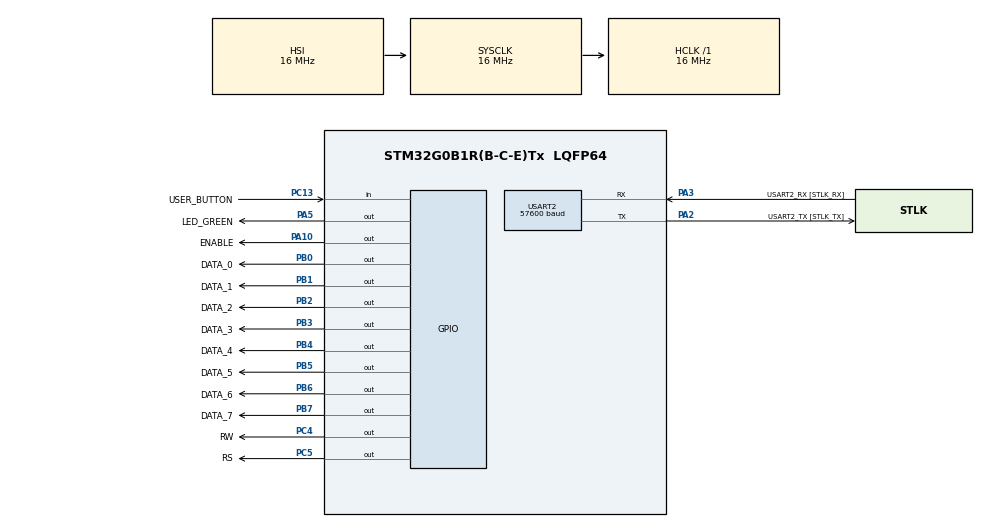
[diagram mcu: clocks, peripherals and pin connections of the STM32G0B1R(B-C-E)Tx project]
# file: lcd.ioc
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Dma.Request0=USART2_RX
Dma.Request1=USART2_TX
Dma.USART2_RX.0.Direction=DMA_PERIPH_TO_MEMORY
Dma.USART2_RX.0.EventEnable=DISABLE
Dma.USART2_RX.0.Instance=DMA1_Channel1
Dma.USART2_RX.0.MemDataAlignment=DMA_MDATAALIGN_BYTE
Dma.USART2_RX.0.MemInc=DMA_MINC_ENABLE
Dma.USART2_RX.0.Mode=DMA_NORMAL
Dma.USART2_RX.0.PeriphDataAlignment=DMA_PDATAALIGN_BYTE
Dma.USART2_RX.0.PeriphInc=DMA_PINC_DISABLE
Dma.USART2_RX.0.Polarity=HAL_DMAMUX_REQ_GEN_RISING
Dma.USART2_RX.0.Priority=DMA_PRIORITY_LOW
Dma.USART2_RX.0.RequestNumber=1
Dma.USART2_RX.0.SignalID=NONE
Dma.USART2_RX.0.SyncEnable=DISABLE
Dma.USART2_RX.0.SyncPolarity=HAL_DMAMUX_SYNC_NO_EVENT
Dma.USART2_RX.0.SyncRequestNumber=1
Dma.USART2_RX.0.SyncSignalID=NONE
Dma.USART2_TX.1.Direction=DMA_MEMORY_TO_PERIPH
Dma.USART2_TX.1.EventEnable=DISABLE
Dma.USART2_TX.1.Instance=DMA1_Channel2
Dma.USART2_TX.1.MemDataAlignment=DMA_MDATAALIGN_BYTE
Dma.USART2_TX.1.MemInc=DMA_MINC_ENABLE
Dma.USART2_TX.1.Mode=DMA_NORMAL
Dma.USART2_TX.1.PeriphDataAlignment=DMA_PDATAALIGN_BYTE
Dma.USART2_TX.1.PeriphInc=DMA_PINC_DISABLE
Dma.USART2_TX.1.Polarity=HAL_DMAMUX_REQ_GEN_RISING
Dma.USART2_TX.1.Priority=DMA_PRIORITY_LOW
Dma.USART2_TX.1.RequestNumber=1
Dma.USART2_TX.1.SignalID=NONE
Dma.USART2_TX.1.SyncEnable=DISABLE
Dma.USART2_TX.1.SyncPolarity=HAL_DMAMUX_SYNC_NO_EVENT
Dma.USART2_TX.1.SyncRequestNumber=1
Dma.USART2_TX.1.SyncSignalID=NONE
Mcu.Family=STM32G0
Mcu.Name=STM32G0B1R(B-C-E)Tx
Mcu.Package=LQFP64
NVIC.DMA1_Channel1_IRQn=true\:0\:0\:false\:false\:true\:false\:true\:true
NVIC.DMA1_Channel2_3_IRQn=true\:0\:0\:false\:false\:true\:false\:true\:true
NVIC.USART2_LPUART2_IRQn=true\:0\:0\:false\:false\:true\:true\:true\:true
PA10.GPIO_Label=ENABLE
PA10.Signal=GPIO_Output
PA13.GPIO_Label=TMS
PA13.Mode=Serial_Wire
PA13.Signal=SYS_SWDIO
PA14-BOOT0.GPIO_Label=TCK
PA14-BOOT0.Mode=Serial_Wire
PA14-BOOT0.Signal=SYS_SWCLK
PA2.GPIO_Label=USART2_TX [STLK_TX]
PA2.Mode=Asynchronous
PA2.Signal=USART2_TX
PA3.GPIO_Label=USART2_RX [STLK_RX]
PA3.Mode=Asynchronous
PA3.Signal=USART2_RX
PA5.GPIO_Label=LED_GREEN
PA5.GPIO_Speed=GPIO_SPEED_FREQ_HIGH
PA5.Signal=GPIO_Output
PB0.GPIO_Label=DATA_0
PB0.Signal=GPIO_Output
PB1.GPIO_Label=DATA_1
PB1.Signal=GPIO_Output
PB2.GPIO_Label=DATA_2
PB2.Signal=GPIO_Output
PB3.GPIO_Label=DATA_3
PB3.Signal=GPIO_Output
PB4.GPIO_Label=DATA_4
PB4.Signal=GPIO_Output
PB5.GPIO_Label=DATA_5
PB5.Signal=GPIO_Output
PB6.GPIO_Label=DATA_6
PB6.Signal=GPIO_Output
PB7.GPIO_Label=DATA_7
PB7.Signal=GPIO_Output
PC13.GPIO_Label=USER_BUTTON
PC13.Signal=GPIO_Input
PC14-OSC32_IN\ (PC14).Mode=LSE-External-Oscillator
PC14-OSC32_IN\ (PC14).Signal=RCC_OSC32_IN
PC15-OSC32_OUT\ (PC15).Mode=LSE-External-Oscillator
PC15-OSC32_OUT\ (PC15).Signal=RCC_OSC32_OUT
PC4.GPIO_Label=RW
PC4.Signal=GPIO_Output
PC5.GPIO_Label=RS
PC5.Signal=GPIO_Output
PF0-OSC_IN\ (PF0).GPIO_Label=MCO
PF0-OSC_IN\ (PF0).Mode=HSE-External-Clock-Source
PF0-OSC_IN\ (PF0).Signal=RCC_OSC_IN
ProjectManager.HeapSize=0x200
ProjectManager.StackSize=0x400
ProjectManager.TargetToolchain=STM32CubeIDE
RCC.AHBFreq_Value=16000000
RCC.CortexFreq_Value=16000000
RCC.EXTERNAL_CLOCK_VALUE=12288000
RCC.HCLKFreq_Value=16000000
RCC.HSE_VALUE=8000000
RCC.HSI48_VALUE=48000000
RCC.HSI_VALUE=16000000
RCC.SYSCLKFreq_VALUE=16000000
RCC.USBFreq_Value=48000000
RCC.VCOOutputFreq_Value=128000000
USART2.BaudRate=57600
USART2.VirtualMode-Asynchronous=VM_ASYNC
board=NUCLEO-G0B1RE

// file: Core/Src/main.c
/* USER CODE BEGIN Header */
/**
  ******************************************************************************
  * @file           : main.c
  * @brief          : Main program body
  ******************************************************************************
  * @attention
  *
  * Copyright (c) 2023 STMicroelectronics.
  * All rights reserved.
  *
  * This software is licensed under terms that can be found in the LICENSE file
  * in the root directory of this software component.
  * If no LICENSE file comes with this software, it is provided AS-IS.
  *
  ******************************************************************************
  */
/* USER CODE END Header */
#include "main.h"

/* USER CODE BEGIN Includes */
#include <stdio.h>
#include <stdbool.h>
#include <stdlib.h>
#include <string.h>
#include <stdint.h>
#include "retarget.h"
#include "lcd.h"

/* USER CODE END Includes */

UART_HandleTypeDef huart2;
DMA_HandleTypeDef hdma_usart2_rx;
DMA_HandleTypeDef hdma_usart2_tx;

/* USER CODE BEGIN PV */
bool dato_recivido=false;
uint8_t rx_buff[50]={0};

/* USER CODE END PV */

void SystemClock_Config(void);
static void MX_GPIO_Init(void);
static void MX_DMA_Init(void);
static void MX_USART2_UART_Init(void);
/* USER CODE BEGIN PFP */

lcd_port_t my_lcd = {
		.RS.port = GPIOC,
		.RS.pin = GPIO_PIN_5,
		.RS.index = 5,
		.RW.port = GPIOC,
		.RW.pin = GPIO_PIN_4,
		.RW.index = 4,
		.E.port = GPIOA,
		.E.pin = GPIO_PIN_10,
		.E.index = 10,
		.D0.port = GPIOB,
		.D0.pin = GPIO_PIN_0,
		.D0.index = 0,
		.D1.port = GPIOB,
		.D1.pin = GPIO_PIN_1,
		.D1.index = 1,
		.D2.port = GPIOB,
		.D2.pin = GPIO_PIN_2,
		.D2.index = 2,
		.D3.port = GPIOB,
		.D3.pin = GPIO_PIN_3,
		.D3.index = 3,
		.D4.port = GPIOB,
		.D4.pin = GPIO_PIN_4,
		.D4.index = 4,
		.D5.port = GPIOB,
		.D5.pin = GPIO_PIN_5,
		.D5.index = 5,
		.D6.port = GPIOB,
		.D6.pin = GPIO_PIN_6,
		.D6.index = 6,
		.D7.port = GPIOB,
		.D7.pin = GPIO_PIN_7,
		.D7.index = 7,
};

/* USER CODE END PFP */

/* USER CODE BEGIN 0 */

/*
void parceo(char *data)
{
	const char split[] = ";";
	uint8_t *token;
	token = strtok(data,split);
	while(token != NULL)
	{
		switch(j)
		{
			case 0:
			Vn = strtol(token, NULL,10);
			break;
			case 1:
			In = strtol(token, NULL,10);
			break;
			case 2:
			Turns = strtol(token, NULL,10);
			break;
			case 3:
			Burden = strtol(token, NULL,10);
			break;
			case 4:
			Att = strtol(token, NULL,10);
			break;
		}
		j++;
		token = strtok(NULL,split);
	}
}

void get_command(uint8_t *med)
{
	ID = *(med);
	ID = *(med+1);
	switch(ID)
		{
			case 0x19:
				printf("\r ID: %lX \r\n",ID);
			break;
			case 0x20:
				printf("\r ID: %lX \r\n",ID);
			break;
		}
}

*/

void UART_SET_Interruption(UART_HandleTypeDef * istance) // inicializa la interrupcion
{
  __HAL_UART_ENABLE_IT(&huart2,UART_IT_IDLE);
  __HAL_UART_FLUSH_DRREGISTER(&huart2);
  //DMAEnable = true;
 HAL_UART_Receive_DMA(&huart2, (uint8_t *) rx_buff, sizeof(rx_buff));
}

void UART_ASCII_IRQHandler(UART_HandleTypeDef * istance)
{
  if(RESET != __HAL_UART_GET_FLAG(&huart2,UART_FLAG_IDLE))
  {
	  __HAL_UART_CLEAR_IDLEFLAG(&huart2); // limpia la bandera
	  UART_ASCII_receive_callback(); // interrupcion
  }
}

void UART_ASCII_receive_callback(void)
{
	HAL_UART_DMAStop(&huart2);
    HAL_UART_Receive_DMA(&huart2,(uint8_t*) rx_buff, sizeof(rx_buff));
    //get_command(rx_buff);
    dato_recivido = true;
    memset(rx_buff,'\0',sizeof(rx_buff));
}

/* USER CODE END 0 */

int main(void)
{

  /* MCU Configuration--------------------------------------------------------*/

  /* Reset of all peripherals, Initializes the Flash interface and the Systick. */
  HAL_Init();

  /* Configure the system clock */
  SystemClock_Config();

  /* Initialize all configured peripherals */
  MX_GPIO_Init();
  MX_DMA_Init();
  MX_USART2_UART_Init();
  /* USER CODE BEGIN 2 */
  UART_SET_Interruption(&huart2);
  HAL_UART_Receive_DMA(&huart2,rx_buff, sizeof(rx_buff));
  RetargetInit(&huart2);

  printf("\r LCD project \r\n");
  char m[] = {"Buenos dias Ismael"};
  char m2[] = {"Como estas?"};
  char measure[10];

  lcd_init(&my_lcd);
  place(&my_lcd,1,3);
  message(&my_lcd,m,sizeof(m));
  place(&my_lcd,2,3);
  message(&my_lcd,m2,sizeof(m2));
  HAL_Delay(2000);

  clear(&my_lcd);

  place(&my_lcd,1,0);
  get_number(measure,sizeof(measure), "%.3f", 4.331);
  message(&my_lcd,"measure: ",9);
  message(&my_lcd,measure,6);

  /* USER CODE END 2 */

  /* Infinite loop */
  while (1)
  {

  }
}

void SystemClock_Config(void)
{
  RCC_OscInitTypeDef RCC_OscInitStruct = {0};
  RCC_ClkInitTypeDef RCC_ClkInitStruct = {0};

  /** Configure the main internal regulator output voltage
  */
  HAL_PWREx_ControlVoltageScaling(PWR_REGULATOR_VOLTAGE_SCALE1);

  /** Initializes the RCC Oscillators according to the specified parameters
  * in the RCC_OscInitTypeDef structure.
  */
  RCC_OscInitStruct.OscillatorType = RCC_OSCILLATORTYPE_HSI;
  RCC_OscInitStruct.HSIState = RCC_HSI_ON;
  RCC_OscInitStruct.HSIDiv = RCC_HSI_DIV1;
  RCC_OscInitStruct.HSICalibrationValue = RCC_HSICALIBRATION_DEFAULT;
  RCC_OscInitStruct.PLL.PLLState = RCC_PLL_NONE;
  if (HAL_RCC_OscConfig(&RCC_OscInitStruct) != HAL_OK)
  {
    Error_Handler();
  }

  /** Initializes the CPU, AHB and APB buses clocks
  */
  RCC_ClkInitStruct.ClockType = RCC_CLOCKTYPE_HCLK|RCC_CLOCKTYPE_SYSCLK
                              |RCC_CLOCKTYPE_PCLK1;
  RCC_ClkInitStruct.SYSCLKSource = RCC_SYSCLKSOURCE_HSI;
  RCC_ClkInitStruct.AHBCLKDivider = RCC_SYSCLK_DIV1;
  RCC_ClkInitStruct.APB1CLKDivider = RCC_HCLK_DIV1;

  if (HAL_RCC_ClockConfig(&RCC_ClkInitStruct, FLASH_LATENCY_0) != HAL_OK)
  {
    Error_Handler();
  }
}

static void MX_USART2_UART_Init(void)
{

  huart2.Instance = USART2;
  huart2.Init.BaudRate = 57600;
  huart2.Init.WordLength = UART_WORDLENGTH_8B;
  huart2.Init.StopBits = UART_STOPBITS_1;
  huart2.Init.Parity = UART_PARITY_NONE;
  huart2.Init.Mode = UART_MODE_TX_RX;
  huart2.Init.HwFlowCtl = UART_HWCONTROL_NONE;
  huart2.Init.OverSampling = UART_OVERSAMPLING_16;
  huart2.Init.OneBitSampling = UART_ONE_BIT_SAMPLE_DISABLE;
  huart2.Init.ClockPrescaler = UART_PRESCALER_DIV1;
  huart2.AdvancedInit.AdvFeatureInit = UART_ADVFEATURE_NO_INIT;
  if (HAL_UART_Init(&huart2) != HAL_OK)
  {
    Error_Handler();
  }
  if (HAL_UARTEx_SetTxFifoThreshold(&huart2, UART_TXFIFO_THRESHOLD_1_8) != HAL_OK)
  {
    Error_Handler();
  }
  if (HAL_UARTEx_SetRxFifoThreshold(&huart2, UART_RXFIFO_THRESHOLD_1_8) != HAL_OK)
  {
    Error_Handler();
  }
  if (HAL_UARTEx_DisableFifoMode(&huart2) != HAL_OK)
  {
    Error_Handler();
  }

}

static void MX_DMA_Init(void)
{

  /* DMA controller clock enable */
  __HAL_RCC_DMA1_CLK_ENABLE();

  /* DMA interrupt init */
  /* DMA1_Channel1_IRQn interrupt configuration */
  HAL_NVIC_SetPriority(DMA1_Channel1_IRQn, 0, 0);
  HAL_NVIC_EnableIRQ(DMA1_Channel1_IRQn);
  /* DMA1_Channel2_3_IRQn interrupt configuration */
  HAL_NVIC_SetPriority(DMA1_Channel2_3_IRQn, 0, 0);
  HAL_NVIC_EnableIRQ(DMA1_Channel2_3_IRQn);

}

static void MX_GPIO_Init(void)
{
  GPIO_InitTypeDef GPIO_InitStruct = {0};

  /* GPIO Ports Clock Enable */
  __HAL_RCC_GPIOC_CLK_ENABLE();
  __HAL_RCC_GPIOF_CLK_ENABLE();
  __HAL_RCC_GPIOA_CLK_ENABLE();
  __HAL_RCC_GPIOB_CLK_ENABLE();

  /*Configure GPIO pin Output Level */
  HAL_GPIO_WritePin(GPIOA, LED_GREEN_Pin|ENABLE_Pin, GPIO_PIN_RESET);

  /*Configure GPIO pin Output Level */
  HAL_GPIO_WritePin(GPIOC, RW_Pin|RS_Pin, GPIO_PIN_RESET);

  /*Configure GPIO pin Output Level */
  HAL_GPIO_WritePin(GPIOB, DATA_0_Pin|DATA_1_Pin|DATA_2_Pin|DATA_3_Pin
                          |DATA_4_Pin|DATA_5_Pin|DATA_6_Pin|DATA_7_Pin, GPIO_PIN_RESET);

  /*Configure GPIO pin : USER_BUTTON_Pin */
  GPIO_InitStruct.Pin = USER_BUTTON_Pin;
  GPIO_InitStruct.Mode = GPIO_MODE_INPUT;
  GPIO_InitStruct.Pull = GPIO_NOPULL;
  HAL_GPIO_Init(USER_BUTTON_GPIO_Port, &GPIO_InitStruct);

  /*Configure GPIO pin : LED_GREEN_Pin */
  GPIO_InitStruct.Pin = LED_GREEN_Pin;
  GPIO_InitStruct.Mode = GPIO_MODE_OUTPUT_PP;
  GPIO_InitStruct.Pull = GPIO_NOPULL;
  GPIO_InitStruct.Speed = GPIO_SPEED_FREQ_HIGH;
  HAL_GPIO_Init(LED_GREEN_GPIO_Port, &GPIO_InitStruct);

  /*Configure GPIO pins : RW_Pin RS_Pin */
  GPIO_InitStruct.Pin = RW_Pin|RS_Pin;
  GPIO_InitStruct.Mode = GPIO_MODE_OUTPUT_PP;
  GPIO_InitStruct.Pull = GPIO_NOPULL;
  GPIO_InitStruct.Speed = GPIO_SPEED_FREQ_LOW;
  HAL_GPIO_Init(GPIOC, &GPIO_InitStruct);

  /*Configure GPIO pins : DATA_0_Pin DATA_1_Pin DATA_2_Pin DATA_3_Pin
                           DATA_4_Pin DATA_5_Pin DATA_6_Pin DATA_7_Pin */
  GPIO_InitStruct.Pin = DATA_0_Pin|DATA_1_Pin|DATA_2_Pin|DATA_3_Pin
                          |DATA_4_Pin|DATA_5_Pin|DATA_6_Pin|DATA_7_Pin;
  GPIO_InitStruct.Mode = GPIO_MODE_OUTPUT_PP;
  GPIO_InitStruct.Pull = GPIO_NOPULL;
  GPIO_InitStruct.Speed = GPIO_SPEED_FREQ_LOW;
  HAL_GPIO_Init(GPIOB, &GPIO_InitStruct);

  /*Configure GPIO pin : ENABLE_Pin */
  GPIO_InitStruct.Pin = ENABLE_Pin;
  GPIO_InitStruct.Mode = GPIO_MODE_OUTPUT_PP;
  GPIO_InitStruct.Pull = GPIO_NOPULL;
  GPIO_InitStruct.Speed = GPIO_SPEED_FREQ_LOW;
  HAL_GPIO_Init(ENABLE_GPIO_Port, &GPIO_InitStruct);

}

void Error_Handler(void)
{
  __disable_irq();
  while (1)
  {
  }
}
